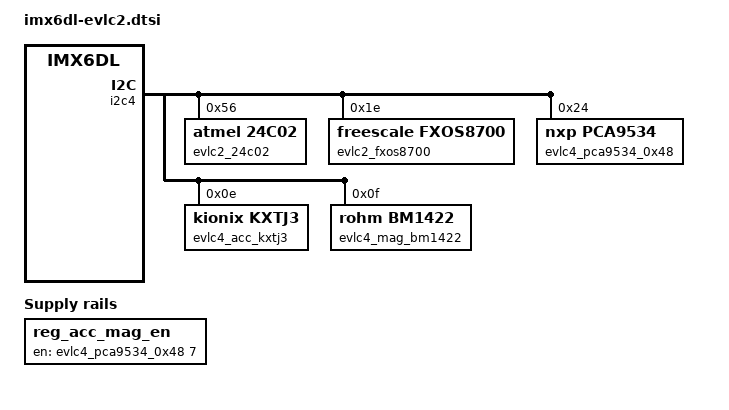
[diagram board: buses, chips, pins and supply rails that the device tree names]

/*
 * Copyright 2016 FLIR Systems.
 *
 * The code contained herein is licensed under the GNU General Public
 * License. You may obtain a copy of the GNU General Public License
 * Version 2 or later at the following locations:
 *
 * http://www.opensource.org/licenses/gpl-license.html
 * http://www.gnu.org/copyleft/gpl.html
 */

#include <dt-bindings/input/input.h>

// This file also supports evlc4 with magnetometer bm1422 and accelerometer kxtj3

/ {
	regulators {
			compatible = "simple-bus";

			/* pull up gpio to pca9534 to enable kxtj3 and bm1422 on evlc4 */
			reg_acc_mag_en: reg_acc_mag_en {
				compatible = "regulator-fixed";
				regulator-name = "reg_acc_mag_enable";
				gpio = <&evlc4_pca9534_0x48 7 GPIO_ACTIVE_HIGH>;
				enable-active-high;
				regulator-boot-on;
				regulator-always-on;
			};
	};
};


&i2c4 {
      evlc2_24c02: evlc2_24c02@56 {
		compatible = "atmel,24c02";
		reg = <0x56>;
		pagesize = <16>;
		};

      evlc2_fxos8700:evlc2_fxos8700@1e  {
		compatible = "freescale,fxos8700";
		reg = <0x1e>;
		position = <8>; ////X = -Z, Y=-Y, Z=-X  -->Appcore config 1,1,1  XYZ (EVLC2)
		};

	  evlc4_pca9534_0x48: evlc4_pca9534_0x48@24 {
		// I/O expander
		compatible = "nxp,pca9534";
		reg = <0x24>;
		gpio-controller;
                #gpio-cells = <2>;
	  };

	  evlc4_acc_kxtj3: evlc4_acc_kxtj3@0E {
		compatible = "kionix,kxtj3";
		reg = <0x0E>;
		// Remap axes for appcore
		axis-map-x = <2>;
		axis-map-y = <1>;
		axis-map-z = <0>;
		negate-x;
		is-sensor-accel;
	  };

	  evlc4_mag_bm1422: evlc4_mag_bm1422@0F {
		compatible = "rohm,bm1422";
		reg = <0x0F>;
		// Remap axes for appcore
		axis-map-x = <2>; // X = -Z
		negate-x;
		axis-map-y = <0>; // Y = X
		axis-map-z = <1>; // Z = -Y
		negate-z;

	  };
};
